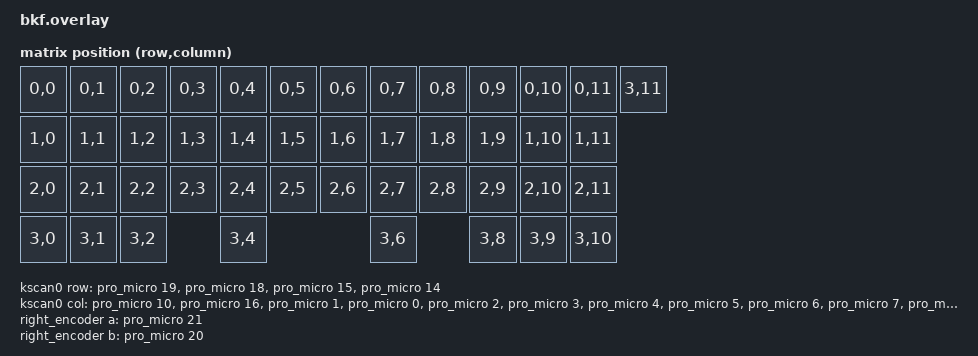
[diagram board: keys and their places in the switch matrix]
#include <dt-bindings/zmk/matrix_transform.h>

/ {
    chosen {
        zmk,kscan = &kscan0;
        zmk,matrix_transform = &default_transform;
    };

    kscan0: kscan_0 {
        compatible = "zmk,kscan-gpio-matrix";
        label = "KSCAN";
        diode-direction = "col2row";

        col-gpios
            = <&pro_micro 10 GPIO_ACTIVE_HIGH>
            , <&pro_micro 16 GPIO_ACTIVE_HIGH>
            , <&pro_micro 1 GPIO_ACTIVE_HIGH>
            , <&pro_micro 0 GPIO_ACTIVE_HIGH>
            , <&pro_micro 2 GPIO_ACTIVE_HIGH>
            , <&pro_micro 3 GPIO_ACTIVE_HIGH>
            , <&pro_micro 4 GPIO_ACTIVE_HIGH>
            , <&pro_micro 5 GPIO_ACTIVE_HIGH>
            , <&pro_micro 6 GPIO_ACTIVE_HIGH>
            , <&pro_micro 7 GPIO_ACTIVE_HIGH>
            , <&pro_micro 8 GPIO_ACTIVE_HIGH>
            , <&pro_micro 9 GPIO_ACTIVE_HIGH>
            ;

        row-gpios
            = <&pro_micro 19 (GPIO_ACTIVE_HIGH | GPIO_PULL_DOWN)>
            , <&pro_micro 18 (GPIO_ACTIVE_HIGH | GPIO_PULL_DOWN)>
            , <&pro_micro 15 (GPIO_ACTIVE_HIGH | GPIO_PULL_DOWN)>
            , <&pro_micro 14 (GPIO_ACTIVE_HIGH | GPIO_PULL_DOWN)>
            ;
    };

    right_encoder: encoder_right {
        compatible = "alps,ec11";
        label = "RIGHT_ENCODER";
        a-gpios = <&pro_micro 21 (GPIO_ACTIVE_HIGH | GPIO_PULL_UP)>;
        b-gpios = <&pro_micro 20 (GPIO_ACTIVE_HIGH | GPIO_PULL_UP)>;
        resolution = <4>;
    };

    sensors {
        compatible = "zmk,keymap-sensors";
        sensors = <&right_encoder>;
    };

    default_transform: keymap_transform_0 {
        compatible = "zmk,matrix-transform";
        columns = <12>;
        rows = <4>;
//    k000, k001, k002, k003, k004, k005, k006, k007, k008, k009, k010, k011, k311, 
//    k100, k101, k102, k103, k104, k105, k106, k107, k108, k109, k110, k111,
//    k200, k201, k202, k203, k204, k205, k206, k207, k208, k209, k210, k211,
//    k300, k301, k302,          k304,       k306,          k308, k309, k310
        map = <
RC(0,0) RC(0,1) RC(0,2) RC(0,3) RC(0,4) RC(0,5) RC(0,6) RC(0,7) RC(0,8) RC(0,9) RC(0,10) RC(0,11) RC(3,11)
RC(1,0) RC(1,1) RC(1,2) RC(1,3) RC(1,4) RC(1,5) RC(1,6) RC(1,7) RC(1,8) RC(1,9) RC(1,10) RC(1,11)
RC(2,0) RC(2,1) RC(2,2) RC(2,3) RC(2,4) RC(2,5) RC(2,6) RC(2,7) RC(2,8) RC(2,9) RC(2,10) RC(2,11)
RC(3,0) RC(3,1) RC(3,2)         RC(3,4)                 RC(3,6)         RC(3,8) RC(3,9)  RC(3,10)

        >;
    };

};

 &right_encoder {
    status = "okay";
 };
